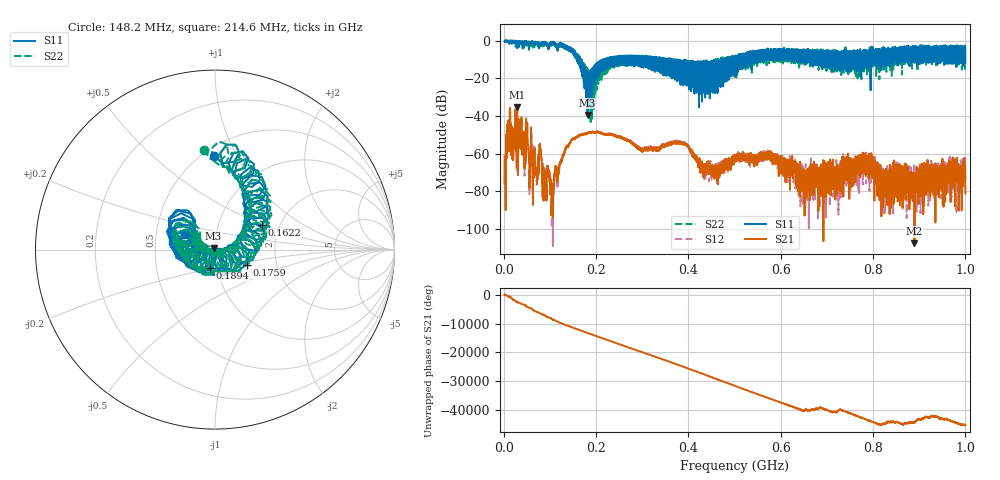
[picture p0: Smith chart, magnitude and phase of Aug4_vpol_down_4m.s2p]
!Keysight Technologies N9923A: A.12.45
!Date: Tuesday, 05 August 2025 20:21:45
!Timezone: (UTC+08:00) Kuala Lumpur, Singapore
!Model: N9923A
!Serial: MY61181427
!GPS Latitude:
!GPS Longitude:
!GPS TimeStamp: 0001-01-01 00:00:00Z
!GPS Seconds Since Last Read: 0
!CHECKSUM:0341862059
!Correction: S11(ON U)S21(ON U)S12(ON U)S22(ON U)
!S2P File: Measurements:S11,S21,S12,S22:
# Hz S DB R 50
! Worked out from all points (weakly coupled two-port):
!   4001 points, 2 MHz to 1 GHz, reference 50 ohm
!   highest |S21| = -35.28 dB at 29.2 MHz (marker M1); lowest = -107.5 dB at 889.7 MHz (marker M2)
!   lowest |S11| = -39.4 dB at 181.6 MHz (marker M3), VSWR 1.02, Z = 49.2 + j0.699 ohm
!   |S11| at or under -10 dB: 166.2 MHz to 215.5 MHz (49.34 MHz wide, 25.9 % of centre); 368.5 MHz to 470.5 MHz (102 MHz wide, 24.3 % of centre); 470.7 MHz to 475.5 MHz (4.796 MHz wide, 1.01 % of centre)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
!   |S22| runs from -44.1 to 0.1 dB; largest |S21 - S12| = 0.0012
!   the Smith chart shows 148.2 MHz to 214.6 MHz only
!   S11 on the Smith chart (normalised r, x): 148.2 MHz: 0.56, +0.81; 162.2 MHz: 1.62, +0.49; 175.9 MHz: 1.40, -0.25; 189.4 MHz: 0.92, -0.19; 214.6 MHz: 0.70, +0.12
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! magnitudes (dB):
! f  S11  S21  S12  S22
! 2 MHz  -0.1  -75.9  -74.6  -0.1
! 10.98 MHz  -0.7  -47.0  -47.2  -0.8
! 29.2 MHz  -3.9  -35.3  -35.2  -2.5
! 67.87 MHz  -2.4  -70.1  -70.3  -1.7
! 78.85 MHz  -1.5  -58.2  -57.9  -1.2
! 104.5 MHz  -1.1  -88.5  -84.7  -2.0
! 148.2 MHz  -5.6  -52.6  -52.6  -5.0
! 162.2 MHz  -10.6  -50.2  -50.2  -9.9
! 168.4 MHz  -16.5  -49.9  -49.8  -13.7
! 175.9 MHz  -14.2  -49.5  -49.2  -13.2
! 181.6 MHz  -39.4  -49.2  -49.0  -20.7
! 189.4 MHz  -19.3  -48.8  -48.5  -17.3
! 214.6 MHz  -14.6  -49.5  -49.1  -14.2
! 334.8 MHz  -9.1  -57.3  -56.9  -10.5
! 392 MHz  -10.1  -54.6  -54.4  -12.1
! 436.4 MHz  -30.1  -66.0  -65.3  -15.8
! 501 MHz  -8.4  -61.5  -61.4  -8.8
! 667.4 MHz  -5.3  -68.6  -69.2  -7.5
! 785.9 MHz  -10.7  -64.1  -62.7  -5.7
! 833.8 MHz  -6.0  -75.3  -73.9  -13.1
! 889.7 MHz  -3.0  -107.5  -74.9  -8.8
! 1 GHz  -11.9  -81.2  -65.7  -3.9
